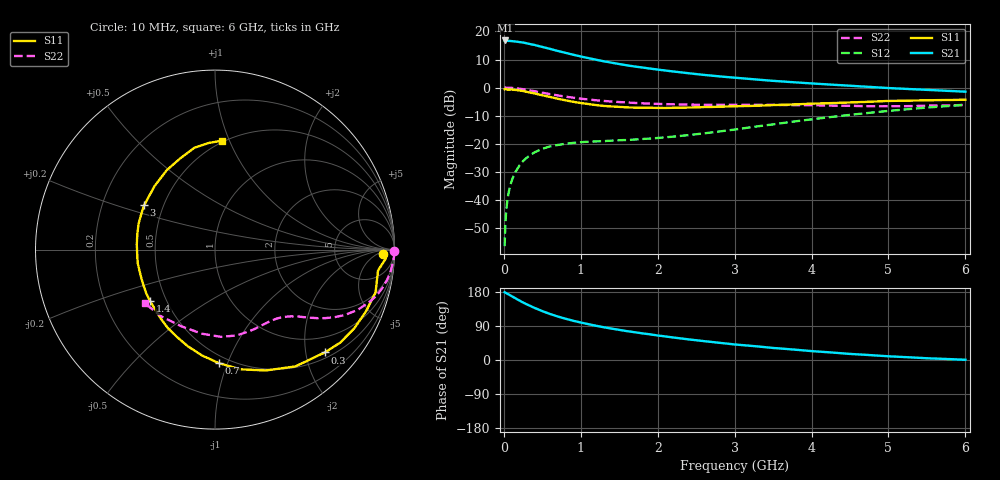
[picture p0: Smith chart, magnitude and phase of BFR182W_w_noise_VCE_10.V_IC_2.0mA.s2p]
! Infineon Technologies  Discrete & RF Semiconductors
! BFR182W
! VCE =  10. V,  IC =  2.0 mA
! Common Emitter S-Parameters:  Jan 2017
# GHz  S  MA  R  50
!  f  S11  S21  S12  S22
! GHz  MAG  ANG  MAG  ANG  MAG  ANG  MAG  ANG
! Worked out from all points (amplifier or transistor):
!   77 points, 10 MHz to 6 GHz, reference 50 ohm
!   highest |S21| = 16.8 dB at 20 MHz (marker M1)
!   |S21| within 3 dB of that: start of sweep to 600.8 MHz
!   unconditionally stable (mu >= 1): 1.786 GHz to 3.121 GHz
!   at 130 MHz: K = 0.08, MSG = 23.9 dB, |S12| = -31.3 dB
!   at 2.2 GHz: K = 1.08, MAG = 9.9 dB, |S12| = -17.5 dB
!   at 6 GHz: K = 0.81, MSG = 2.3 dB, |S12| = -6.1 dB
!   lowest NFmin = 0.85 dB at 450 MHz
!   S11 on the Smith chart (normalised r, x): 10 MHz: 25, -11; 300 MHz: 0.62, -2.39; 700 MHz: 0.44, -0.93; 1.4 GHz: 0.41, -0.30; 3 GHz: 0.39, +0.25; 6 GHz: 0.49, +0.94
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0.01  0.9353 -1.6  6.82 178.8  0.0015 86.6  1 -0.6
0.02  0.953 -3.0  6.911 177.8  0.0037 91.4  0.9997 -1.4
0.03  0.94 -4.4  6.876 176.7  0.0061 87.8  0.9983 -2.1
0.05  0.9158 -7.3  6.815 174.4  0.0108 85.4  0.996 -3.4
0.1  0.9259 -14.9  6.738 168.7  0.0214 83.1  0.987 -6.7
0.2  0.8914 -29.5  6.482 157.2  0.0404 74.1  0.9564 -13.0
0.25  0.8697 -36.5  6.348 151.7  0.0492 69.3  0.9359 -15.9
0.3  0.8383 -43.1  6.139 146.7  0.0567 65.7  0.9106 -18.5
0.4  0.7899 -55.5  5.745 137.3  0.0705 59.7  0.8622 -23.0
0.5  0.7306 -67.2  5.298 129.0  0.0813 54.7  0.812 -26.6
0.6  0.6819 -78.0  4.896 121.5  0.0896 50.4  0.7666 -29.4
0.7  0.6332 -88.0  4.499 114.8  0.0951 47.6  0.7263 -31.7
0.9  0.5594 -105.7  3.853 103.6  0.1037 43.5  0.661 -35.1
1.1  0.5094 -121.2  3.348 94.5  0.1088 41.7  0.6139 -37.7
1.4  0.4617 -141.5  2.777 82.9  0.1135 41.9  0.5643 -41.2
1.8  0.4368 -164.6  2.279 70.3  0.1217 45.4  0.5253 -46.2
2.1  0.4343 -179.0  2.014 62.2  0.1303 49.4  0.5081 -50.6
3  0.4659 147.9  1.502 41.0  0.1788 58.9  0.4933 -66.2
3.1  0.468 144.9  1.463 39.3  0.1872 59.4  0.4923 -68.1
4.1  0.5219 119.0  1.164 22.1  0.2827 58.6  0.4827 -88.6
5.1  0.581 99.8  0.967 8.8  0.3954 50.1  0.466 -116.6
6  0.6085 86.2  0.846 0.6  0.4939 39.6  0.4921 -142.4
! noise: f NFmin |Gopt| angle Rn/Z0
0.45  0.85  0.5  30  0.26
0.9  0.99  0.4  58  0.24
1.9  1.74  0.3  142  0.14
2.4  2.11  0.26  164  0.19
